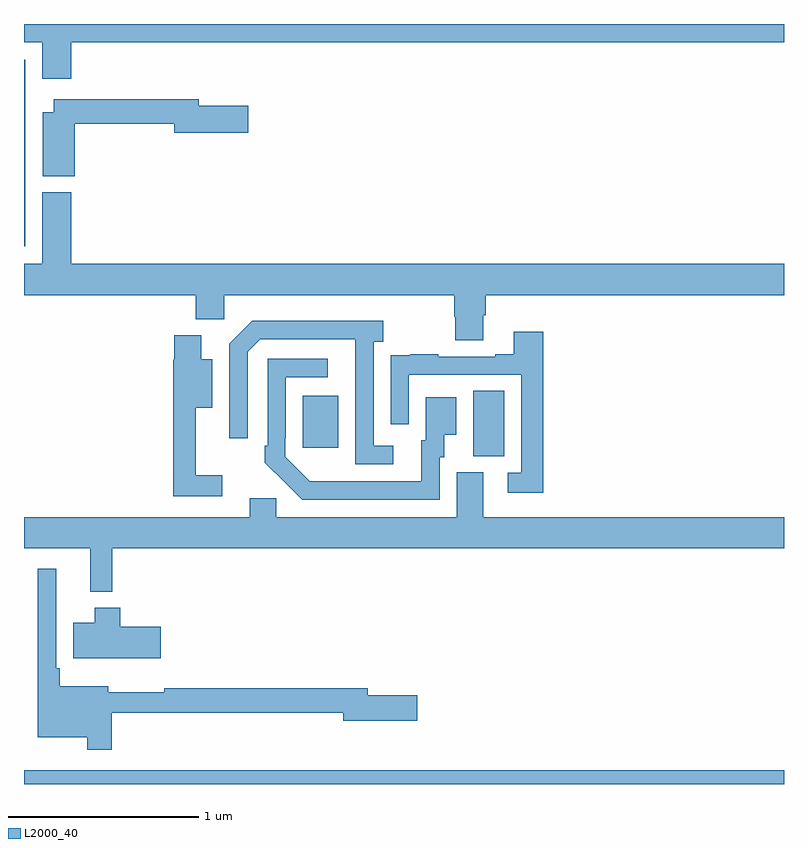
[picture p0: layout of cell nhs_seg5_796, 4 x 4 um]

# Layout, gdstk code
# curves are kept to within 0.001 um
import gdstk
lib = gdstk.Library(unit=1e-6, precision=1e-09)
def R(c, l, rs):  # rectangles x0, y0, x1, y1
    for r in rs: c.add(gdstk.rectangle(r[:2], r[2:], *l))
def P(c, l, *ps):  # polygons
    for p in ps: c.add(gdstk.Polygon(p, *l))
L2000_40 = (2000, 40)

nhs_seg5_796 = lib.new_cell('nhs_seg5_796')
R(nhs_seg5_796, L2000_40, [(161,908.799,165,908.872), (163.364,910.525,163.528,910.868), (162.467,910.569,162.655,910.843), (161,911.628,161.007,912.612)])
P(nhs_seg5_796, L2000_40, [(161.249,912.704),(165,912.704),(165,912.799),(161,912.799),(161,912.704),(161.096,912.704),(161.096,912.51),(161.249,912.51)],
  [(161.266,912.274),(161.792,912.274),(161.792,912.227),(162.181,912.227),(162.181,912.369),(161.92,912.369),(161.92,912.403),(161.156,912.403),(161.156,912.334),(161.099,912.334),(161.099,911.999),(161.266,911.999)],
  [(163.417,911.266),(163.43,911.266),(163.43,911.372),(165,911.372),(165,911.536),(161.249,911.536),(161.249,911.914),(161.096,911.914),(161.096,911.536),(161,911.536),(161,911.372),(161.903,911.372),(161.903,911.246),(162.054,911.246),(162.054,911.372),(163.265,911.372),(163.265,911.259),(163.27,911.259),(163.27,911.134),(163.417,911.134)],
  [(162.943,910.578),(162.84,910.578),(162.84,911.126),(162.892,911.126),(162.892,911.236),(162.202,911.236),(162.081,911.115),(162.081,910.62),(162.177,910.62),(162.177,911.073),(162.243,911.139),(162.743,911.139),(162.744,910.482),(162.943,910.482)],
  [(163.733,911.179),(163.577,911.179),(163.577,911.062),(163.481,911.062),(163.481,911.049),(163.181,911.049),(163.181,911.062),(163.033,911.062),(163.033,911.055),(162.931,911.055),(162.931,910.946),(162.93,910.946),(162.93,910.692),(163.026,910.692),(163.026,910.953),(163.617,910.953),(163.617,910.437),(163.545,910.437),(163.545,910.332),(163.733,910.332)],
  [(162.043,910.423),(161.903,910.423),(161.903,910.778),(161.992,910.778),(161.992,911.035),(161.932,911.035),(161.932,911.161),(161.792,911.161),(161.792,911.031),(161.785,911.031),(161.785,910.314),(162.043,910.314)],
  [(163.188,910.518),(163.213,910.518),(163.213,910.637),(163.276,910.637),(163.276,910.834),(163.115,910.834),(163.115,910.608),(163.091,910.608),(163.091,910.392),(162.504,910.393),(162.375,910.521),(162.375,910.621),(162.378,910.621),(162.378,910.941),(162.598,910.941),(162.598,911.037),(162.282,911.037),(162.282,910.579),(162.267,910.579),(162.267,910.491),(162.464,910.296),(163.188,910.296)],
  [(161.465,910.04),(165,910.04),(165,910.204),(163.417,910.204),(163.417,910.44),(163.277,910.44),(163.277,910.204),(162.327,910.204),(162.327,910.302),(162.188,910.302),(162.188,910.204),(161,910.204),(161,910.04),(161.348,910.04),(161.348,909.812),(161.465,909.812)],
  [(161.462,909.174),(162.68,909.174),(162.68,909.131),(163.069,909.131),(163.069,909.266),(162.808,909.266),(162.808,909.302),(161.739,909.302),(161.739,909.283),(161.443,909.283),(161.443,909.313),(161.189,909.313),(161.189,909.409),(161.169,909.409),(161.169,909.931),(161.072,909.931),(161.072,909.044),(161.334,909.044),(161.334,908.979),(161.462,908.979)],
  [(161.719,909.627),(161.507,909.627),(161.507,909.727),(161.372,909.727),(161.372,909.649),(161.258,909.649),(161.258,909.461),(161.719,909.461)])

lib.write_gds('nhs_seg5_796.gds')
